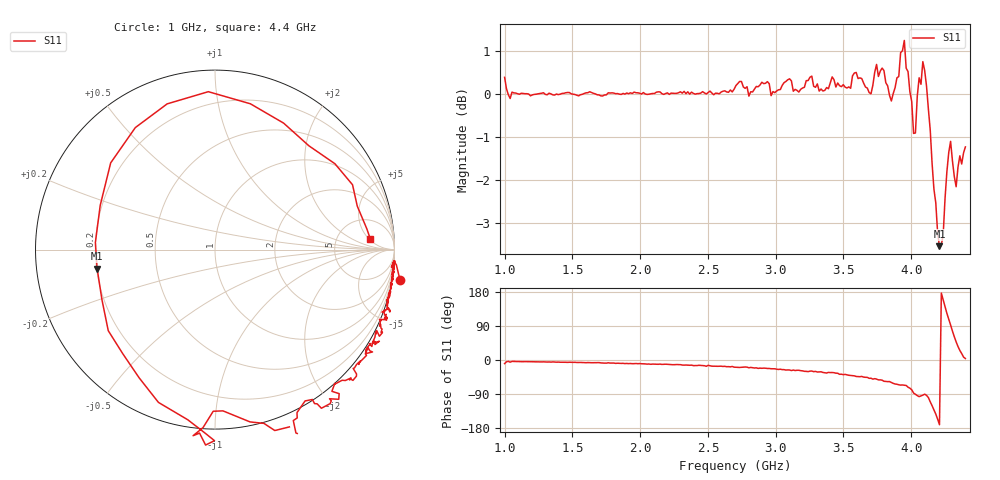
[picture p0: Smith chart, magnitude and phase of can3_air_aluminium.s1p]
# MHz S MA R 50
!  freq  S11
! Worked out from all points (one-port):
!   250 points, 1 GHz to 4.4 GHz, reference 50 ohm
!   lowest |S11| = -3.5 dB at 4.209 GHz (marker M1), VSWR 4.97, Z = 10.1 - j3.84 ohm
!   |S11| at or under -10 dB: nowhere
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1000  1.045 -9.4
1027.309  0.9979 -3.6
1436.948  1.002 -6.1
1860.241  0.9985 -8.9
2283.534  1.003 -12.1
2706.827  1.022 -19.0
3130.12  1.007 -26.6
3416.867  1.047 -33.0
3553.414  1.015 -40.7
3703.614  1 -48.1
3744.578  1.082 -50.4
3853.815  0.9812 -59.2
3949.398  1.154 -66.7
3976.707  1.062 -71.7
4031.325  0.9006 -90.6
4058.635  1.044 -96.7
4099.598  1.065 -90.2
4113.253  1.021 -93.3
4140.562  0.9078 -110.3
4167.871  0.7747 -131.6
4208.835  0.6651 -170.8
4222.49  0.6676 176.6
4249.799  0.7558 140.2
4277.108  0.8546 108.2
4290.763  0.8806 92.4
4318.072  0.8017 61.5
4345.382  0.8217 35.6
4400  0.8676 3.9
